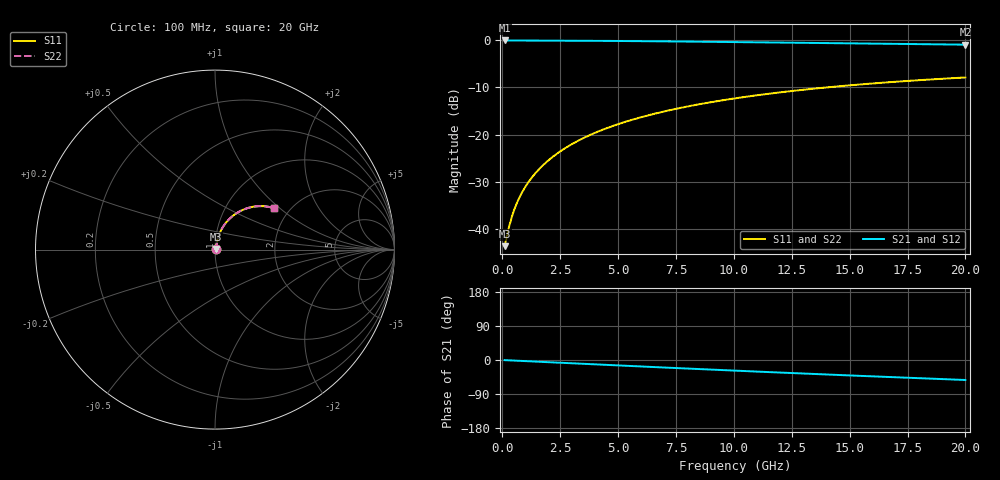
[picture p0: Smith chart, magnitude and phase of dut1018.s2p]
! Touchstone file exported from HFSS 2026.1.0
!  File:  C:/ffzhzh/LocalFiles/Ansys_Project_Files/temp_train_TMRDL_1018_1783159797_22436.aedt
!  Generated:  06:11:08 PM Jul  4, 2026
!  Design:  TMRDL
!  Project:  temp_train_TMRDL_1018_1783159797_22436
! Variables:
!  h_bsmrdl = 2um
!  h_ox = 20um
!  h_rdl = 5um
!  h_sub = 80um
!  h_tmrdl = 3.37um
!  h_tsv = 80um
!  h_via = 3um
!  l_bsmrdl = 300um
!  l_sub = 1250.09um
!  l_tmrdl = 850.09um
!  m_sub = 200um
!  pitch = 31.82um
!  r_tsv = 6um
!  s_tmrdl = 10um
!  w_bsmrdl = 18um
!  w_sub = 500um
!  w_tmrdl = 15.43um
!  x_tsv_center1 = 857.805um
!  x_tsv_center2 = 1175.805um
!  x_tsv_center3 = 2041.325um
!  x_tsv_center4 = 2359.325um
!  x_tsv_center5 = 3224.845um
!  x_tsv_center6 = 3542.845um
# GHz S MA R 50.000000
! Terminal data exported
! Port[1] = TM_RDL1_1_T1
! Port[2] = TM_RDL1_1_T2
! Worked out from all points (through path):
!   200 points, 100 MHz to 20 GHz, reference 50 ohm
!   highest |S21| = -0.05 dB at 100 MHz (marker M1); lowest = -0.9 dB at 20 GHz (marker M2)
!   group delay of S21, straight-line fit = 7.32 ps
!   lowest |S11| = -43.6 dB at 100 MHz (marker M3), VSWR 1.01, Z = 50.6 + j0.298 ohm
!   |S11| at or under -10 dB: start of sweep to 14.01 GHz
!   |S22| runs from -43.6 to -7.9 dB; largest |S21 - S12| = 3.5e-15
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0.1  0.006576 26.6  0.9941 -0.3  0.9941 -0.3  0.006576 26.6
! Gamma 0 0 0 0
! Port Impedance 50 0 50 0
0.3  0.01073 53.4  0.9937 -0.9  0.9937 -0.9  0.01073 53.4
0.4  0.01316 59.3  0.9934 -1.2  0.9934 -1.2  0.01316 59.3
0.5  0.01562 63.1  0.9932 -1.5  0.9932 -1.5  0.01562 63.1
0.6  0.0181 65.9  0.993 -1.8  0.993 -1.8  0.0181 65.9
0.7  0.02058 68.0  0.9928 -2.1  0.9928 -2.1  0.02058 68.0
0.9  0.02558 70.9  0.9925 -2.7  0.9925 -2.7  0.02558 70.9
1.2  0.03314 73.4  0.992 -3.5  0.992 -3.5  0.03314 73.4
1.4  0.03822 74.4  0.9917 -4.1  0.9917 -4.1  0.03822 74.4
1.7  0.04587 75.3  0.9912 -4.9  0.9912 -4.9  0.04588 75.3
2.2  0.05867 75.7  0.9903 -6.4  0.9903 -6.4  0.05867 75.7
2.8  0.07401 75.4  0.9889 -8.1  0.9889 -8.1  0.07401 75.4
3.5  0.09175 74.3  0.987 -10.1  0.987 -10.1  0.09175 74.3
4.2  0.1093 73.0  0.9846 -12.1  0.9846 -12.1  0.1093 73.0
5  0.129 71.2  0.9816 -14.3  0.9816 -14.3  0.129 71.2
5.9  0.1506 69.0  0.9778 -16.9  0.9778 -16.9  0.1506 69.0
6.8  0.1716 66.8  0.9736 -19.3  0.9736 -19.3  0.1716 66.8
8.3  0.2053 63.0  0.9658 -23.4  0.9658 -23.4  0.2053 63.0
10.1  0.2432 58.4  0.9557 -28.2  0.9557 -28.2  0.2432 58.4
13.4  0.3057 50.3  0.936 -36.7  0.936 -36.7  0.3057 50.3
16.7  0.359 42.4  0.916 -44.9  0.916 -44.9  0.3589 42.4
20  0.4029 34.8  0.8972 -52.7  0.8972 -52.7  0.4029 34.8
